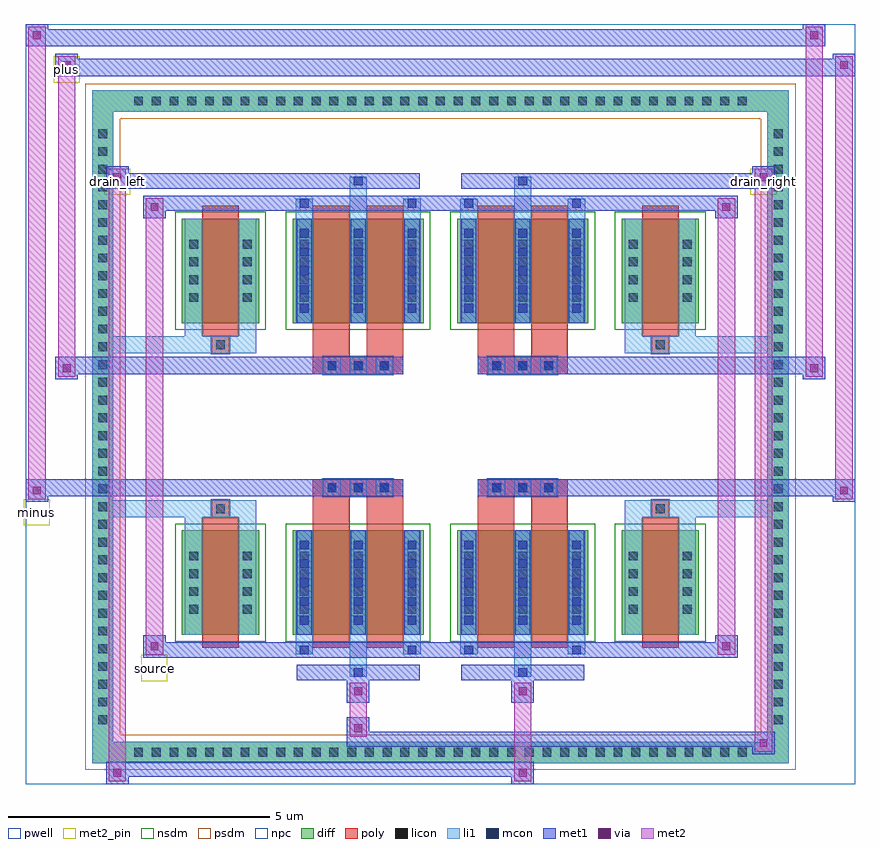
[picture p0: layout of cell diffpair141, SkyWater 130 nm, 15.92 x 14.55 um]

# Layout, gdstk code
import gdstk
lib = gdstk.Library(unit=1e-6, precision=5e-09)
def R(c, l, rs):  # rectangles x0, y0, x1, y1
    for r in rs: c.add(gdstk.rectangle(r[:2], r[2:], *l))
def A(c, l, x, y, w, h, nx, ny, dx, dy):  # array of equal rectangles
    R(c, l, [(x+i*dx, y+j*dy, x+i*dx+w, y+j*dy+h) for i in range(nx) for j in range(ny)])
def P(c, l, *ps):  # polygons
    for p in ps: c.add(gdstk.Polygon(p, *l))
pwell = (64, 44)
diff = (65, 20)
poly = (66, 20)
licon = (66, 44)
li1 = (67, 20)
mcon = (67, 44)
met1 = (68, 20)
via = (68, 44)
met2_pin = (69, 16)
met2 = (69, 20)
nsdm = (93, 44)
psdm = (94, 20)
npc = (95, 20)

diffpair141 = lib.new_cell('diffpair141')
R(diffpair141, pwell, [(-7.94,-6.84,7.94,7.71), (-5.26,-5.03,-0.01,-0.805), (0.01,-5.03,5.26,-0.805), (-5.26,0.805,-0.01,5.03), (0.01,0.805,5.26,5.03)])
A(diffpair141, diff, -5.985, -6.44, 0.41, 0.41, 35, 2, 0.34, 12.47)
A(diffpair141, diff, -6.67, -5.815, 0.41, 0.41, 1, 34, 0, 0.34)
A(diffpair141, diff, 6.26, -5.815, 0.41, 0.41, 1, 34, 0, 0.34)
R(diffpair141, diff, [(-5.985,-6.44,5.985,-6.03), (-6.67,-5.815,-6.26,5.815), (6.26,-5.815,6.67,5.815), (-4.95,-3.985,-3.47,-1.985), (-2.83,-3.985,-0.32,-1.985), (0.32,-3.985,2.83,-1.985), (3.47,-3.985,4.95,-1.985), (-4.95,1.985,-3.47,3.985), (-2.83,1.985,-0.32,3.985), (0.32,1.985,2.83,3.985), (3.47,1.985,4.95,3.985), (-5.985,6.03,5.985,6.44)])
P(diffpair141, diff, [(6.67,6.44),(-6.67,6.44),(-6.67,-6.03),(-6.26,-6.03),(-6.26,6.03),(6.26,6.03),(6.26,-6.03),(-6.26,-6.03),(-6.67,-6.03),(-6.67,-6.44),(6.67,-6.44)])
A(diffpair141, poly, -2.24, -1.335, 0.33, 0.33, 3, 2, 0.5, 2.34)
A(diffpair141, poly, 0.91, -1.335, 0.33, 0.33, 3, 2, 0.5, 2.34)
R(diffpair141, poly, [(-4.56,-4.235,-3.86,-1.735), (-2.44,-4.235,-1.74,-1.735), (-1.41,-4.235,-0.71,-1.735), (0.71,-4.235,1.41,-1.735), (1.74,-4.235,2.44,-1.735), (3.86,-4.235,4.56,-1.735), (-4.375,-1.735,-4.045,-1.405), (-4.375,-1.735,-4.045,-1.405), (-2.44,-1.735,-1.74,-1.335), (-1.41,-1.735,-0.71,-1.335), (0.71,-1.735,1.41,-1.335), (1.74,-1.735,2.44,-1.335), (4.045,-1.735,4.375,-1.405), (4.045,-1.735,4.375,-1.405), (-2.44,-1.335,-0.71,-1.005), (0.71,-1.335,2.44,-1.005), (-2.44,1.005,-0.71,1.335), (0.71,1.005,2.44,1.335), (-2.44,1.335,-1.74,1.735), (-1.41,1.335,-0.71,1.735), (0.71,1.335,1.41,1.735), (1.74,1.335,2.44,1.735), (-4.375,1.405,-4.045,1.735), (-4.375,1.405,-4.045,1.735), (4.045,1.405,4.375,1.735), (4.045,1.405,4.375,1.735), (-4.56,1.735,-3.86,4.235), (-2.44,1.735,-1.74,4.235), (-1.41,1.735,-0.71,4.235), (0.71,1.735,1.41,4.235), (1.74,1.735,2.44,4.235), (3.86,1.735,4.56,4.235)])
A(diffpair141, licon, -5.865, -6.32, 0.17, 0.17, 35, 2, 0.34, 12.47)
A(diffpair141, licon, -6.55, -5.695, 0.17, 0.17, 1, 34, 0, 0.34)
A(diffpair141, licon, 6.38, -5.695, 0.17, 0.17, 1, 34, 0, 0.34)
A(diffpair141, licon, -4.81, -3.58, 0.17, 0.17, 1, 4, 0, 0.34)
A(diffpair141, licon, -3.78, -3.58, 0.17, 0.17, 1, 4, 0, 0.34)
A(diffpair141, licon, -2.69, -3.58, 0.17, 0.17, 3, 4, 1.03, 0.34)
A(diffpair141, licon, 0.46, -3.58, 0.17, 0.17, 3, 4, 1.03, 0.34)
A(diffpair141, licon, 3.61, -3.58, 0.17, 0.17, 1, 4, 0, 0.34)
A(diffpair141, licon, 4.64, -3.58, 0.17, 0.17, 1, 4, 0, 0.34)
A(diffpair141, licon, -2.16, -1.255, 0.17, 0.17, 3, 2, 0.5, 2.34)
A(diffpair141, licon, 0.99, -1.255, 0.17, 0.17, 3, 2, 0.5, 2.34)
A(diffpair141, licon, -4.81, 2.39, 0.17, 0.17, 1, 4, 0, 0.34)
A(diffpair141, licon, -3.78, 2.39, 0.17, 0.17, 1, 4, 0, 0.34)
A(diffpair141, licon, -2.69, 2.39, 0.17, 0.17, 3, 4, 1.03, 0.34)
A(diffpair141, licon, 0.46, 2.39, 0.17, 0.17, 3, 4, 1.03, 0.34)
A(diffpair141, licon, 3.61, 2.39, 0.17, 0.17, 1, 4, 0, 0.34)
A(diffpair141, licon, 4.64, 2.39, 0.17, 0.17, 1, 4, 0, 0.34)
R(diffpair141, licon, [(-4.295,-1.655,-4.125,-1.485), (4.125,-1.655,4.295,-1.485), (-4.295,1.485,-4.125,1.655), (4.125,1.485,4.295,1.655)])
A(diffpair141, li1, -5.945, -6.4, 0.33, 0.33, 35, 2, 0.34, 12.47)
A(diffpair141, li1, -6.63, -5.775, 0.33, 0.33, 1, 34, 0, 0.34)
A(diffpair141, li1, 6.3, -5.775, 0.33, 0.33, 1, 34, 0, 0.34)
A(diffpair141, li1, -2.77, -3.985, 0.33, 2, 3, 2, 1.03, 5.97)
A(diffpair141, li1, 0.38, -3.985, 0.33, 2, 3, 2, 1.03, 5.97)
A(diffpair141, li1, -2.69, -3.79, 0.17, 0.17, 3, 5, 1.03, 0.36)
A(diffpair141, li1, -2.69, -3.79, 0.17, 1.61, 3, 2, 1.03, 5.97)
A(diffpair141, li1, 0.46, -3.79, 0.17, 0.17, 3, 5, 1.03, 0.36)
A(diffpair141, li1, 0.46, -3.79, 0.17, 1.61, 3, 2, 1.03, 5.97)
A(diffpair141, li1, -4.89, -3.66, 0.33, 0.33, 1, 4, 0, 0.34)
A(diffpair141, li1, -3.86, -3.66, 0.33, 0.33, 1, 4, 0, 0.34)
A(diffpair141, li1, -2.77, -3.66, 0.33, 0.33, 3, 4, 1.03, 0.34)
A(diffpair141, li1, 0.38, -3.66, 0.33, 0.33, 3, 4, 1.03, 0.34)
A(diffpair141, li1, 3.53, -3.66, 0.33, 0.33, 1, 4, 0, 0.34)
A(diffpair141, li1, 4.56, -3.66, 0.33, 0.33, 1, 4, 0, 0.34)
A(diffpair141, li1, -2.24, -1.335, 0.33, 0.33, 3, 2, 0.5, 2.34)
A(diffpair141, li1, 0.91, -1.335, 0.33, 0.33, 3, 2, 0.5, 2.34)
A(diffpair141, li1, -2.69, 2.18, 0.17, 0.17, 3, 5, 1.03, 0.36)
A(diffpair141, li1, 0.46, 2.18, 0.17, 0.17, 3, 5, 1.03, 0.36)
A(diffpair141, li1, -4.89, 2.31, 0.33, 0.33, 1, 4, 0, 0.34)
A(diffpair141, li1, -3.86, 2.31, 0.33, 0.33, 1, 4, 0, 0.34)
A(diffpair141, li1, -2.77, 2.31, 0.33, 0.33, 3, 4, 1.03, 0.34)
A(diffpair141, li1, 0.38, 2.31, 0.33, 0.33, 3, 4, 1.03, 0.34)
A(diffpair141, li1, 3.53, 2.31, 0.33, 0.33, 1, 4, 0, 0.34)
A(diffpair141, li1, 4.56, 2.31, 0.33, 0.33, 1, 4, 0, 0.34)
R(diffpair141, li1, [(-6.67,-6.44,-6.26,-6.03), (-6.67,-6.44,-6.26,-6.03), (-6.26,-6.44,6.26,-6.03), (6.26,-6.44,6.67,-6.03), (6.26,-6.44,6.67,-6.03), (-6.67,-6.03,-6.26,6.03), (6.26,-6.03,6.67,6.03), (-1.74,-4.79,-1.41,-3.985), (-1.66,-4.79,-1.49,-4.62), (1.41,-4.79,1.74,-3.985), (1.49,-4.79,1.66,-4.62), (-2.77,-4.36,-2.44,-3.985), (-2.69,-4.36,-2.52,-4.19), (-0.71,-4.36,-0.38,-3.985), (-0.63,-4.36,-0.46,-4.19), (0.38,-4.36,0.71,-3.985), (0.46,-4.36,0.63,-4.19), (2.44,-4.36,2.77,-3.985), (2.52,-4.36,2.69,-4.19), (-4.89,-3.985,-4.56,-1.985), (-3.86,-3.985,-3.53,-1.985), (3.53,-3.985,3.86,-1.985), (4.56,-3.985,4.89,-1.985), (-4.89,-1.985,-4.56,-1.405), (-3.86,-1.985,-3.53,-1.405), (3.53,-1.985,3.86,-1.405), (4.56,-1.985,4.89,-1.405), (-6.67,-1.735,-4.375,-1.405), (-4.89,-1.735,-4.375,-1.405), (-4.375,-1.735,-4.045,-1.405), (-4.045,-1.735,-3.53,-1.405), (3.53,-1.735,4.045,-1.405), (4.045,-1.735,4.375,-1.405), (4.045,-1.735,6.67,-1.405), (4.375,-1.735,4.89,-1.405), (-6.67,1.405,-4.375,1.735), (-4.89,1.405,-4.375,1.735), (-4.89,1.405,-4.56,1.985), (-4.375,1.405,-4.045,1.735), (-4.045,1.405,-3.53,1.735), (-3.86,1.405,-3.53,1.985), (3.53,1.405,4.045,1.735), (3.53,1.405,3.86,1.985), (4.045,1.405,4.375,1.735), (4.045,1.405,6.67,1.735), (4.375,1.405,4.89,1.735), (4.56,1.405,4.89,1.985), (-4.89,1.985,-4.56,3.985), (-3.86,1.985,-3.53,3.985), (3.53,1.985,3.86,3.985), (4.56,1.985,4.89,3.985), (-2.77,3.985,-2.44,4.36), (-1.74,3.985,-1.41,4.79), (-0.71,3.985,-0.38,4.36), (0.38,3.985,0.71,4.36), (1.41,3.985,1.74,4.79), (2.44,3.985,2.77,4.36), (-2.69,4.19,-2.52,4.36), (-0.63,4.19,-0.46,4.36), (0.46,4.19,0.63,4.36), (2.52,4.19,2.69,4.36), (-1.66,4.62,-1.49,4.79), (1.49,4.62,1.66,4.79), (-6.67,6.03,-6.26,6.44), (-6.67,6.03,-6.26,6.44), (-6.26,6.03,6.26,6.44), (6.26,6.03,6.67,6.44), (6.26,6.03,6.67,6.44)])
A(diffpair141, mcon, -2.69, -3.79, 0.17, 0.17, 3, 5, 1.03, 0.36)
A(diffpair141, mcon, 0.46, -3.79, 0.17, 0.17, 3, 5, 1.03, 0.36)
A(diffpair141, mcon, -2.16, -1.255, 0.17, 0.17, 3, 2, 0.5, 2.34)
A(diffpair141, mcon, 0.99, -1.255, 0.17, 0.17, 3, 2, 0.5, 2.34)
A(diffpair141, mcon, -2.69, 2.18, 0.17, 0.17, 3, 5, 1.03, 0.36)
A(diffpair141, mcon, 0.46, 2.18, 0.17, 0.17, 3, 5, 1.03, 0.36)
R(diffpair141, mcon, [(-1.66,-4.79,-1.49,-4.62), (1.49,-4.79,1.66,-4.62), (-2.69,-4.36,-2.52,-4.19), (-0.63,-4.36,-0.46,-4.19), (0.46,-4.36,0.63,-4.19), (2.52,-4.36,2.69,-4.19), (-2.69,4.19,-2.52,4.36), (-0.63,4.19,-0.46,4.36), (0.46,4.19,0.63,4.36), (2.52,4.19,2.69,4.36), (-1.66,4.62,-1.49,4.79), (1.49,4.62,1.66,4.79)])
A(diffpair141, met1, -2.75, -3.985, 0.29, 2, 3, 2, 1.03, 5.97)
A(diffpair141, met1, 0.4, -3.985, 0.29, 2, 3, 2, 1.03, 5.97)
A(diffpair141, met1, -2.75, -3.85, 0.29, 0.29, 3, 5, 1.03, 0.36)
A(diffpair141, met1, 0.4, -3.85, 0.29, 0.29, 3, 5, 1.03, 0.36)
A(diffpair141, met1, -2.22, -1.315, 0.29, 0.29, 3, 2, 0.5, 2.34)
A(diffpair141, met1, 0.93, -1.315, 0.29, 0.29, 3, 2, 0.5, 2.34)
A(diffpair141, met1, -2.75, 2.12, 0.29, 0.29, 3, 5, 1.03, 0.36)
A(diffpair141, met1, 0.4, 2.12, 0.29, 0.29, 3, 5, 1.03, 0.36)
R(diffpair141, met1, [(-6.4,-6.84,-5.97,-6.41), (1.36,-6.84,1.79,-6.41), (-6.4,-6.7,1.79,-6.41), (5.97,-6.27,6.4,-5.84), (-1.79,-6.13,6.4,-5.84), (-1.79,-5.99,-1.36,-5.56), (-1.79,-5.28,-1.36,-4.85), (1.36,-5.28,1.79,-4.85), (-2.75,-4.85,-0.4,-4.56), (-1.72,-4.85,-1.43,-4.56), (0.4,-4.85,2.75,-4.56), (1.43,-4.85,1.72,-4.56), (-5.69,-4.42,-5.26,-3.99), (-5.69,-4.42,-2.75,-4.13), (-2.75,-4.42,-2.46,-4.13), (-2.75,-4.42,-0.4,-4.13), (-0.69,-4.42,-0.4,-4.13), (-0.4,-4.42,0.4,-4.13), (0.4,-4.42,0.69,-4.13), (0.4,-4.42,2.75,-4.13), (2.46,-4.42,2.75,-4.13), (2.75,-4.42,5.69,-4.13), (5.26,-4.42,5.69,-3.99), (-7.94,-1.435,-7.51,-1.005), (7.51,-1.435,7.94,-1.005), (-7.94,-1.335,-0.71,-1.005), (-2.44,-1.335,-0.71,-1.005), (0.71,-1.335,2.44,-1.005), (0.71,-1.335,7.94,-1.005), (-7.37,0.905,-6.94,1.335), (6.94,0.905,7.37,1.335), (-7.37,1.005,-2.44,1.335), (-2.44,1.005,-0.71,1.335), (0.71,1.005,2.44,1.335), (2.44,1.005,7.37,1.335), (-5.69,3.99,-5.26,4.42), (5.26,3.99,5.69,4.42), (-5.69,4.13,-2.75,4.42), (-2.75,4.13,-2.46,4.42), (-2.75,4.13,-0.4,4.42), (-0.69,4.13,-0.4,4.42), (-0.4,4.13,0.4,4.42), (0.4,4.13,0.69,4.42), (0.4,4.13,2.75,4.42), (2.46,4.13,2.75,4.42), (2.75,4.13,5.69,4.42), (-6.4,4.56,-5.97,4.99), (-6.4,4.56,-2.75,4.85), (-2.75,4.56,-0.4,4.85), (-1.72,4.56,-1.43,4.85), (0.4,4.56,2.75,4.85), (1.43,4.56,1.72,4.85), (2.75,4.56,6.4,4.85), (5.97,4.56,6.4,4.99), (-7.37,6.71,-6.94,7.14), (-7.37,6.71,-5.26,7.04), (-5.26,6.71,5.26,7.04), (5.26,6.71,7.94,7.04), (7.51,6.71,7.94,7.14), (-7.94,7.28,-7.51,7.71), (-7.94,7.28,-5.26,7.61), (-5.26,7.28,5.26,7.61), (5.26,7.28,7.37,7.61), (6.94,7.28,7.37,7.71)])
R(diffpair141, via, [(-6.26,-6.7,-6.11,-6.55), (1.5,-6.7,1.65,-6.55), (6.11,-6.13,6.26,-5.98), (-1.65,-5.85,-1.5,-5.7), (-1.65,-5.14,-1.5,-4.99), (1.5,-5.14,1.65,-4.99), (-5.55,-4.28,-5.4,-4.13), (5.4,-4.28,5.55,-4.13), (-7.8,-1.295,-7.65,-1.145), (7.65,-1.295,7.8,-1.145), (-7.23,1.045,-7.08,1.195), (7.08,1.045,7.23,1.195), (-5.55,4.13,-5.4,4.28), (5.4,4.13,5.55,4.28), (-6.26,4.7,-6.11,4.85), (6.11,4.7,6.26,4.85), (-7.23,6.85,-7.08,7), (7.65,6.85,7.8,7), (-7.8,7.42,-7.65,7.57), (7.08,7.42,7.23,7.57)])
R(diffpair141, met2_pin, [(-5.725,-4.87,-5.225,-4.37), (-7.975,-1.885,-7.475,-1.385), (-6.435,4.44,-5.935,4.94), (5.935,4.44,6.435,4.94), (-7.405,6.59,-6.905,7.09)])
R(diffpair141, met2, [(-6.35,-6.79,-6.02,-6.46), (-6.35,-6.79,-6.02,4.94), (1.41,-6.79,1.74,-6.46), (1.41,-6.46,1.74,-5.23), (6.02,-6.22,6.35,-5.89), (6.02,-6.22,6.35,4.94), (-1.74,-5.94,-1.41,-5.61), (-1.74,-5.61,-1.41,-5.23), (-1.74,-5.23,-1.41,-4.9), (1.41,-5.23,1.74,-4.9), (-5.64,-4.37,-5.31,-4.04), (-5.64,-4.37,-5.31,4.37), (5.31,-4.37,5.64,-4.04), (5.31,-4.37,5.64,4.37), (-7.89,-1.385,-7.56,-1.055), (-7.89,-1.385,-7.56,7.66), (7.56,-1.385,7.89,-1.055), (7.56,-1.385,7.89,7.09), (-7.32,0.955,-6.99,1.285), (-7.32,0.955,-6.99,7.09), (6.99,0.955,7.32,1.285), (6.99,0.955,7.32,7.66), (-5.64,4.04,-5.31,4.37), (5.31,4.04,5.64,4.37), (-6.35,4.61,-6.02,4.94), (6.02,4.61,6.35,4.94), (-7.32,6.76,-6.99,7.09), (7.56,6.76,7.89,7.09), (-7.89,7.33,-7.56,7.66), (6.99,7.33,7.32,7.66)])
P(diffpair141, met2, [(7.89,-1.385),(7.89,-1.385),(7.89,-1.055),(7.89,-1.055)],
  [(7.89,6.76),(7.89,6.76),(7.89,7.09),(7.89,7.09)],
  [(-7.56,-1.385),(-7.56,-1.385),(-7.56,-1.055),(-7.56,-1.055)],
  [(-7.56,7.33),(-7.56,7.33),(-7.56,7.66),(-7.56,7.66)],
  [(7.32,0.955),(7.32,0.955),(7.32,1.285),(7.32,1.285)],
  [(7.32,7.33),(7.32,7.33),(7.32,7.66),(7.32,7.66)],
  [(-6.99,0.955),(-6.99,0.955),(-6.99,1.285),(-6.99,1.285)],
  [(-6.99,6.76),(-6.99,6.76),(-6.99,7.09),(-6.99,7.09)],
  [(-6.02,-6.79),(-6.02,-6.79),(-6.02,-6.46),(-6.02,-6.46)],
  [(-6.02,4.61),(-6.02,4.61),(-6.02,4.94),(-6.02,4.94)],
  [(6.35,-6.22),(6.35,-6.22),(6.35,-5.89),(6.35,-5.89)],
  [(6.35,4.61),(6.35,4.61),(6.35,4.94),(6.35,4.94)],
  [(-5.31,-4.37),(-5.31,-4.37),(-5.31,-4.04),(-5.31,-4.04)],
  [(-5.31,4.04),(-5.31,4.04),(-5.31,4.37),(-5.31,4.37)],
  [(5.64,-4.37),(5.64,-4.37),(5.64,-4.04),(5.64,-4.04)],
  [(5.64,4.04),(5.64,4.04),(5.64,4.37),(5.64,4.37)])
R(diffpair141, nsdm, [(-5.08,-4.115,-3.34,-1.855), (-2.96,-4.115,-0.19,-1.855), (0.19,-4.115,2.96,-1.855), (3.34,-4.115,5.08,-1.855), (-5.08,1.855,-3.34,4.115), (-2.96,1.855,-0.19,4.115), (0.19,1.855,2.96,4.115), (3.34,1.855,5.08,4.115)])
P(diffpair141, psdm, [(6.8,6.57),(-6.8,6.57),(-6.8,-5.9),(-6.13,-5.9),(-6.13,5.9),(6.13,5.9),(6.13,-5.9),(-6.13,-5.9),(-6.8,-5.9),(-6.8,-6.57),(6.8,-6.57)])
A(diffpair141, npc, -2.26, -1.355, 0.37, 0.37, 3, 2, 0.5, 2.34)
A(diffpair141, npc, 0.89, -1.355, 0.37, 0.37, 3, 2, 0.5, 2.34)
R(diffpair141, npc, [(-4.395,-1.755,-4.025,-1.385), (4.025,-1.755,4.395,-1.385), (-2.26,-1.355,-1.39,-0.985), (-2.26,-1.355,-1.39,-0.985), (-1.76,-1.355,-0.89,-0.985), (-1.76,-1.355,-0.89,-0.985), (0.89,-1.355,1.76,-0.985), (0.89,-1.355,1.76,-0.985), (1.39,-1.355,2.26,-0.985), (1.39,-1.355,2.26,-0.985), (-2.26,0.985,-1.39,1.355), (-2.26,0.985,-1.39,1.355), (-1.76,0.985,-0.89,1.355), (-1.76,0.985,-0.89,1.355), (0.89,0.985,1.76,1.355), (0.89,0.985,1.76,1.355), (1.39,0.985,2.26,1.355), (1.39,0.985,2.26,1.355), (-4.395,1.385,-4.025,1.755), (4.025,1.385,4.395,1.755)])
diffpair141.add(gdstk.Label('minus', (-7.725,-1.635), layer=69, texttype=5))
diffpair141.add(gdstk.Label('drain_right', (6.185,4.69), layer=69, texttype=5))
diffpair141.add(gdstk.Label('drain_left', (-6.185,4.69), layer=69, texttype=5))
diffpair141.add(gdstk.Label('source', (-5.475,-4.62), layer=69, texttype=5))
diffpair141.add(gdstk.Label('plus', (-7.155,6.84), layer=69, texttype=5))

lib.write_gds('diffpair141.gds')
